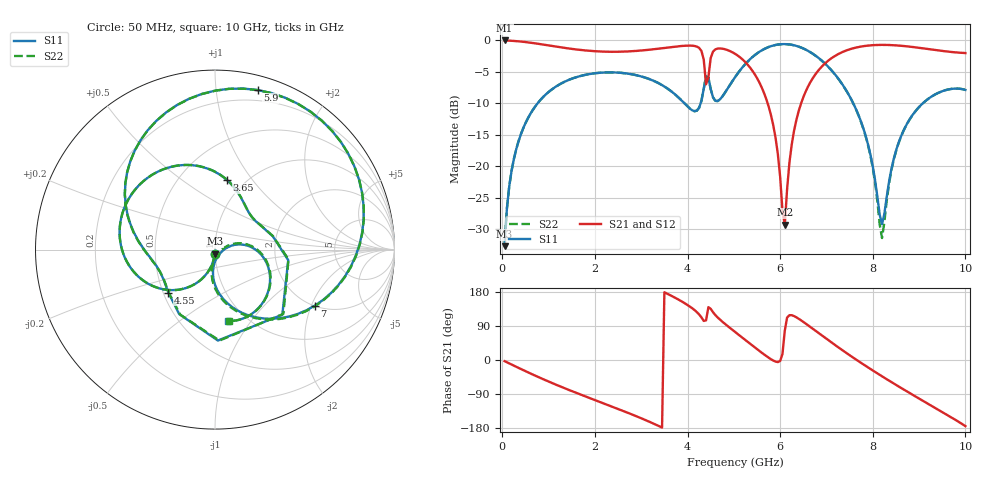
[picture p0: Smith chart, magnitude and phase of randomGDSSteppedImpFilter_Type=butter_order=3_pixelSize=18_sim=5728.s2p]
! freq	dB(S11)	phase(S11)	dB(S12)	phase(S12)
!  dB(S21)	phase(S21)	dB(S22)	phase(S22)
!S-par simulation data
#  GHz  S  DB  R 50
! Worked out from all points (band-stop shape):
!   200 points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, 50 MHz to 10 GHz, reference 50 ohm
!   highest |S21| = -0.01 dB at 50 MHz (marker M1); lowest = -29.3 dB at 6.1 GHz (marker M2)
!   |S21| within 3 dB of the highest: start of sweep to 4.349 GHz; 7.075 GHz to end of sweep (the widest 2 of 3)
!   lowest |S11| = -32.7 dB at 50 MHz (marker M3), VSWR 1.05, Z = 49.8 - j2.32 ohm
!   |S11| at or under -10 dB: start of sweep to 761 MHz; 3.935 GHz to 4.282 GHz (347.1 MHz wide, 8.45 % of centre); 7.579 GHz to 9.079 GHz (1.499 GHz wide, 18 % of centre)
!   |S22| runs from -32.7 to -0.6 dB; largest |S21 - S12| = 0
!   S11 on the Smith chart (normalised r, x): 50 MHz: 1.00, -0.05; 3.65 GHz: 0.82, +0.76; 4.55 GHz: 0.53, -0.29; 5.9 GHz: 0.11, +1.30; 7 GHz: 2.02, -2.13; 10 GHz: 0.82, -0.78
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0.05  -32.66 -93.0  -0.01 -3.0  -0.01 -3.0  -32.66 -93.0
0.2  -20.71 -102.3  -0.06 -12.0  -0.06 -12.0  -20.71 -102.3
0.5  -13.15 -120.0  -0.26 -29.4  -0.26 -29.4  -13.15 -120.0
1.75  -5.53 175.6  -1.56 -94.0  -1.56 -94.0  -5.53 175.5
3.4  -6.89 95.1  -1.29 -175.4  -1.29 -175.4  -6.89 94.8
3.65  -8.09 80.4  -1.06 169.6  -1.06 169.6  -8.09 80.2
4.1  -11.09 47.3  -0.84 136.6  -0.84 136.6  -11.08 47.2
4.35  -7.70 -8.2  -3.03 103.1  -3.03 103.1  -7.68 -7.6
4.45  -5.90 -88.2  -5.87 139.4  -5.87 139.4  -5.89 -87.2
4.55  -9.03 -137.3  -1.79 126.1  -1.79 126.1  -9.03 -136.3
5.05  -5.58 158.0  -2.23 71.8  -2.23 71.8  -5.58 158.3
5.45  -2.34 119.4  -5.36 33.5  -5.36 33.5  -2.35 119.4
5.9  -0.72 75.1  -15.43 -4.2  -15.43 -4.2  -0.72 74.9
6.1  -0.59 55.4  -29.26 77.6  -29.26 77.6  -0.59 55.1
6.3  -0.77 35.8  -14.35 115.9  -14.35 115.9  -0.78 35.5
6.7  -2.09 -2.2  -6.05 82.8  -6.05 82.8  -2.09 -2.7
7  -3.90 -29.2  -3.45 55.8  -3.45 55.8  -3.90 -29.9
7.8  -14.04 -89.7  -0.91 -11.8  -0.91 -11.8  -14.10 -92.0
8.2  -29.17 -39.2  -0.71 -43.1  -0.71 -43.1  -31.37 -38.3
8.35  -22.47 11.1  -0.73 -54.4  -0.73 -54.4  -22.81 16.7
9.05  -10.20 -17.5  -1.22 -105.3  -1.22 -105.3  -10.20 -16.2
10  -7.86 -79.8  -2.00 -174.5  -2.00 -174.5  -7.85 -79.2
